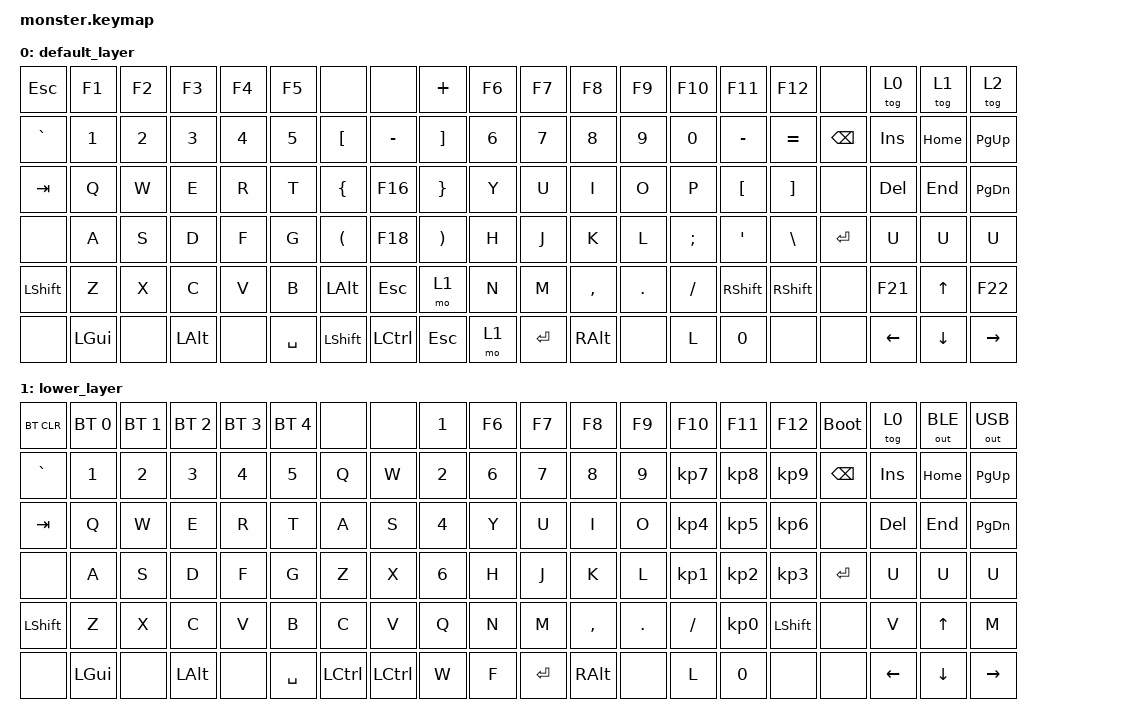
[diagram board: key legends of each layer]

#include <behaviors.dtsi>
#include <dt-bindings/zmk/keys.h>
#include <dt-bindings/zmk/bt.h>
#include <dt-bindings/zmk/outputs.h>

/ {
        keymap {
                compatible = "zmk,keymap";

                default_layer {
bindings = <
&kp ESC     &kp F1      &kp F2      &kp F3      &kp F4      &kp F5      &none       		&none                   &kp PLUS     	      &kp F6      &kp F7      &kp F8      &kp F9      &kp F10     &kp F11     &kp F12    &none       &tog 0      &tog 1      &tog 2
&kp GRAVE   &kp N1      &kp N2      &kp N3      &kp N4      &kp N5      &kp LBKT    		&kp MINUS               &kp RBKT     	      &kp N6      &kp N7      &kp N8      &kp N9      &kp N0      &kp MINUS   &kp EQUAL  &kp BSPC    &kp INS     &kp HOME    &kp PG_UP
&kp TAB     &kp Q       &kp W       &kp E       &kp R       &kp T       &kp LEFT_BRACE 		&kp F16                 &kp RIGHT_BRACE       &kp Y       &kp U       &kp I       &kp O       &kp P       &kp LBKT    &kp RBKT   &none       &kp DEL     &kp END     &kp PG_DN
&none       &kp A       &kp S       &kp D       &kp F       &kp G       &kp LEFT_PARENTHESIS    &kp F18          	&kp RIGHT_PARENTHESIS &kp H       &kp J       &kp K       &kp L       &kp SEMI    &kp SQT     &kp BSLH   &kp ENTER   &kp U       &kp U       &kp U
&kp LSHFT   &kp Z       &kp X       &kp C       &kp V       &kp B       &kp LALT    		&kp ESC                 &mo 1        	      &kp N       &kp M       &kp COMMA   &kp DOT     &kp FSLH    &kp RSHFT   &kp RSHFT  &none       &kp F21     &kp UP      &kp F22
&none       &kp LGUI    &none       &kp LALT    &none       &kp SPC     &kp LSHFT   		&kp LCTRL               &kp ESC      	      &mo 1       &kp ENTER   &kp RALT    &none       &kp L       &kp N0      &none      &none       &kp LEFT    &kp DOWN    &kp RIGHT



                        >;
                };
                lower_layer {
bindings = <
&bt BT_CLR  &bt BT_SEL 0 &bt BT_SEL 1    &bt BT_SEL 2    &bt BT_SEL 3    &bt BT_SEL 4   &none       &none                   &kp N1       &kp F6      &kp F7      &kp F8      &kp F9      &kp F10     &kp F11     &kp F12    &bootloader &tog 0      &out OUT_BLE    &out OUT_USB
&kp GRAVE   &kp N1       &kp N2          &kp N3          &kp N4          &kp N5         &kp Q       &kp W                   &kp N2       &kp N6      &kp N7      &kp N8      &kp N9      &kp KP_N7   &kp KP_N8   &kp KP_N9  &kp BSPC    &kp INS     &kp HOME        &kp PG_UP
&kp TAB     &kp Q        &kp W           &kp E           &kp R           &kp T          &kp A       &kp S                   &kp N4       &kp Y       &kp U       &kp I       &kp O       &kp KP_N4   &kp KP_N5   &kp KP_N6  &none       &kp DEL     &kp END         &kp PG_DN
&none       &kp A        &kp S           &kp D           &kp F           &kp G          &kp Z       &kp X                   &kp N6       &kp H       &kp J       &kp K       &kp L       &kp KP_N1   &kp KP_N2   &kp KP_N3  &kp ENTER   &kp U       &kp U           &kp U
&kp LSHFT   &kp Z        &kp X           &kp C           &kp V           &kp B          &kp C       &kp V                   &kp Q        &kp N       &kp M       &kp COMMA   &kp DOT     &kp FSLH    &kp KP_N0   &kp LSHFT  &none       &kp V       &kp UP          &kp M
&none       &kp LGUI     &none           &kp LALT        &none           &kp SPC        &kp LCTRL   &kp LCTRL               &kp W        &kp F       &kp ENTER   &kp RALT    &none       &kp L       &kp N0      &none      &none       &kp LEFT    &kp DOWN        &kp RIGHT




                        >;
                };

        };
};
